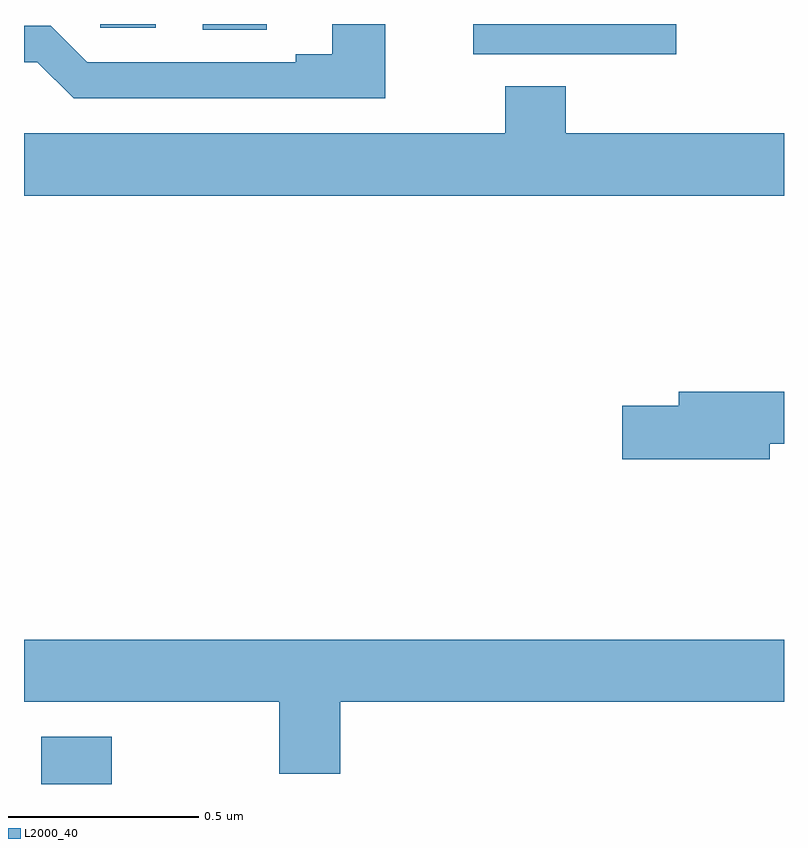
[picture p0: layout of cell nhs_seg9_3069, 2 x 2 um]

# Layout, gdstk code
import gdstk
lib = gdstk.Library(unit=1e-6, precision=1e-09)
def R(c, l, rs):  # rectangles x0, y0, x1, y1
    for r in rs: c.add(gdstk.rectangle(r[:2], r[2:], *l))
def P(c, l, *ps):  # polygons
    for p in ps: c.add(gdstk.Polygon(p, *l))
L2000_40 = (2000, 40)

nhs_seg9_3069 = lib.new_cell('nhs_seg9_3069')
R(nhs_seg9_3069, L2000_40, [(148.046,1233.5,148.231,1233.625), (149.182,1235.421,149.716,1235.5), (148.47,1235.485,148.639,1235.5), (148.2,1235.49,148.347,1235.5)])
P(nhs_seg9_3069, L2000_40, [(148.951,1235.5),(148.811,1235.5),(148.811,1235.42),(148.715,1235.42),(148.715,1235.4),(148.167,1235.4),(148.071,1235.496),(148,1235.496),(148,1235.4),(148.035,1235.4),(148.131,1235.304),(148.951,1235.304)],
  [(150,1235.212),(149.426,1235.212),(149.426,1235.336),(149.266,1235.336),(149.266,1235.212),(148,1235.212),(148,1235.048),(150,1235.048)],
  [(149.962,1234.396),(150,1234.396),(150,1234.532),(149.723,1234.532),(149.723,1234.496),(149.574,1234.496),(149.574,1234.354),(149.962,1234.354)],
  [(148,1233.716),(148.672,1233.716),(148.672,1233.527),(148.832,1233.527),(148.832,1233.716),(150,1233.716),(150,1233.88),(148,1233.88)])

lib.write_gds('nhs_seg9_3069.gds')
